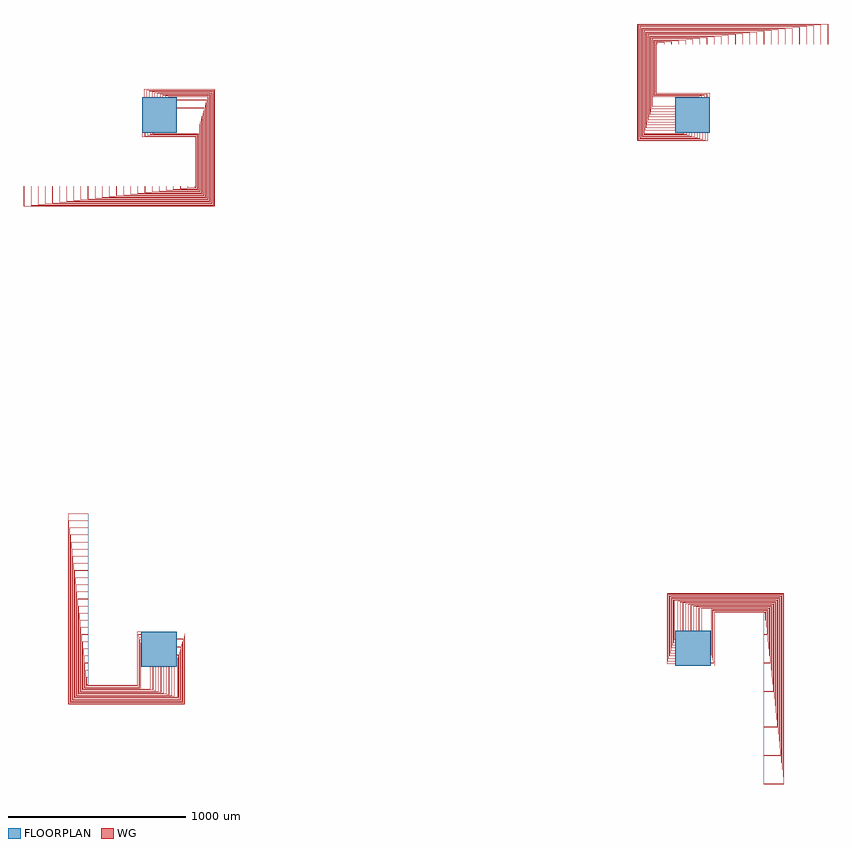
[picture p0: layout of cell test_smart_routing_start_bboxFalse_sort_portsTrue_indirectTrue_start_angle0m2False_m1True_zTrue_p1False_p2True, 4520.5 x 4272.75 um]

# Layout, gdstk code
import gdstk
lib = gdstk.Library(unit=1e-6, precision=1e-09)
def R(c, l, rs):  # rectangles x0, y0, x1, y1
    for r in rs: c.add(gdstk.rectangle(r[:2], r[2:], *l))
def P(c, l, *ps):  # polygons
    for p in ps: c.add(gdstk.Polygon(p, *l))
WG = (1, 0)
FLOORPLAN = (10, 0)

test_smart_routing_start = lib.new_cell('test_smart_routing_start_bboxFalse_sort_portsTrue_indirectTrue_start_angle0m2False_m1True_zTrue_p1False_p2True')
P(test_smart_routing_start, WG, [(-404.5,-204.75),(-404.5,-199.75),(-400,-199.75),(-400,-200.25),(-404,-200.25),(-404,-204.25),(-122.5,-204.25),(-122.5,95.25),(-100,95.25),(-100,94.75),(-122,94.75),(-122,-204.75)],
  [(-409,-209.25),(-409,-159.75),(-400,-159.75),(-400,-160.25),(-408.5,-160.25),(-408.5,-208.75),(-118,-208.75),(-118,80.25),(-100,80.25),(-100,79.75),(-117.5,79.75),(-117.5,-209.25)],
  [(-413.5,-213.75),(-413.5,-119.75),(-400,-119.75),(-400,-120.25),(-413,-120.25),(-413,-213.25),(-113.5,-213.25),(-113.5,65.25),(-100,65.25),(-100,64.75),(-113,64.75),(-113,-213.75)],
  [(-418,-218.25),(-418,-79.75),(-400,-79.75),(-400,-80.25),(-417.5,-80.25),(-417.5,-217.75),(-109,-217.75),(-109,50.25),(-100,50.25),(-100,49.75),(-108.5,49.75),(-108.5,-218.25)],
  [(-422.5,-222.75),(-422.5,-39.75),(-400,-39.75),(-400,-40.25),(-422,-40.25),(-422,-222.25),(-104.5,-222.25),(-104.5,35.25),(-100,35.25),(-100,34.75),(-104,34.75),(-104,-222.75)],
  [(-427,-227.25),(-427,0.25),(-400,0.25),(-400,-0.25),(-426.5,-0.25),(-426.5,-226.75),(-50.25,-226.75),(-50.25,-100),(-49.75,-100),(-49.75,-227.25)],
  [(-431.5,-231.75),(-431.5,40.25),(-400,40.25),(-400,39.75),(-431,39.75),(-431,-231.25),(-35.25,-231.25),(-35.25,-100),(-34.75,-100),(-34.75,-231.75)],
  [(-436,-236.25),(-436,80.25),(-400,80.25),(-400,79.75),(-435.5,79.75),(-435.5,-235.75),(-20.25,-235.75),(-20.25,-100),(-19.75,-100),(-19.75,-236.25)],
  [(-440.5,-240.75),(-440.5,120.25),(-400,120.25),(-400,119.75),(-440,119.75),(-440,-240.25),(-5.25,-240.25),(-5.25,-100),(-4.75,-100),(-4.75,-240.75)],
  [(-445,-245.25),(-445,160.25),(-400,160.25),(-400,159.75),(-444.5,159.75),(-444.5,-244.75),(9.75,-244.75),(9.75,-100),(10.25,-100),(10.25,-245.25)],
  [(-449.5,-249.75),(-449.5,200.25),(-400,200.25),(-400,199.75),(-449,199.75),(-449,-249.25),(24.75,-249.25),(24.75,-100),(25.25,-100),(25.25,-249.75)],
  [(-454,-254.25),(-454,240.25),(-400,240.25),(-400,239.75),(-453.5,239.75),(-453.5,-253.75),(39.75,-253.75),(39.75,-100),(40.25,-100),(40.25,-254.25)],
  [(-458.5,-258.75),(-458.5,280.25),(-400,280.25),(-400,279.75),(-458,279.75),(-458,-258.25),(54.75,-258.25),(54.75,-100),(55.25,-100),(55.25,-258.75)],
  [(-463,-263.25),(-463,320.25),(-400,320.25),(-400,319.75),(-462.5,319.75),(-462.5,-262.75),(69.75,-262.75),(69.75,-100),(70.25,-100),(70.25,-263.25)],
  [(-467.5,-267.75),(-467.5,360.25),(-400,360.25),(-400,359.75),(-467,359.75),(-467,-267.25),(84.75,-267.25),(84.75,-100),(85.25,-100),(85.25,-267.75)],
  [(-472,-272.25),(-472,400.25),(-400,400.25),(-400,399.75),(-471.5,399.75),(-471.5,-271.75),(104,-271.75),(104,-50.25),(100,-50.25),(100,-49.75),(104.5,-49.75),(104.5,-272.25)],
  [(-476.5,-276.75),(-476.5,440.25),(-400,440.25),(-400,439.75),(-476,439.75),(-476,-276.25),(108.5,-276.25),(108.5,-35.25),(100,-35.25),(100,-34.75),(109,-34.75),(109,-276.75)],
  [(-481,-281.25),(-481,480.25),(-400,480.25),(-400,479.75),(-480.5,479.75),(-480.5,-280.75),(113,-280.75),(113,-20.25),(100,-20.25),(100,-19.75),(113.5,-19.75),(113.5,-281.25)],
  [(-485.5,-285.75),(-485.5,520.25),(-400,520.25),(-400,519.75),(-485,519.75),(-485,-285.25),(117.5,-285.25),(117.5,-5.25),(100,-5.25),(100,-4.75),(118,-4.75),(118,-285.75)],
  [(-490,-290.25),(-490,560.25),(-400,560.25),(-400,559.75),(-489.5,559.75),(-489.5,-289.75),(122,-289.75),(122,9.75),(100,9.75),(100,10.25),(122.5,10.25),(122.5,-290.25)],
  [(-494.5,-294.75),(-494.5,600.25),(-400,600.25),(-400,599.75),(-494,599.75),(-494,-294.25),(126.5,-294.25),(126.5,24.75),(100,24.75),(100,25.25),(127,25.25),(127,-294.75)],
  [(-499,-299.25),(-499,640.25),(-400,640.25),(-400,639.75),(-498.5,639.75),(-498.5,-298.75),(131,-298.75),(131,39.75),(100,39.75),(100,40.25),(131.5,40.25),(131.5,-299.25)],
  [(-503.5,-303.75),(-503.5,680.25),(-400,680.25),(-400,679.75),(-503,679.75),(-503,-303.25),(135.5,-303.25),(135.5,54.75),(100,54.75),(100,55.25),(136,55.25),(136,-303.75)],
  [(-508,-308.25),(-508,720.25),(-400,720.25),(-400,719.75),(-507.5,719.75),(-507.5,-307.75),(140,-307.75),(140,69.75),(100,69.75),(100,70.25),(140.5,70.25),(140.5,-308.25)],
  [(-512.5,-312.75),(-512.5,760.25),(-400,760.25),(-400,759.75),(-512,759.75),(-512,-312.25),(144.5,-312.25),(144.5,84.75),(100,84.75),(100,85.25),(145,85.25),(145,-312.75)],
  [(199.75,2595.5),(199.75,2600),(200.25,2600),(200.25,2596),(204.25,2596),(204.25,2877.5),(-95.25,2877.5),(-95.25,2900),(-94.75,2900),(-94.75,2878),(204.75,2878),(204.75,2595.5)],
  [(159.75,2591),(159.75,2600),(160.25,2600),(160.25,2591.5),(208.75,2591.5),(208.75,2882),(-80.25,2882),(-80.25,2900),(-79.75,2900),(-79.75,2882.5),(209.25,2882.5),(209.25,2591)],
  [(119.75,2586.5),(119.75,2600),(120.25,2600),(120.25,2587),(213.25,2587),(213.25,2886.5),(-65.25,2886.5),(-65.25,2900),(-64.75,2900),(-64.75,2887),(213.75,2887),(213.75,2586.5)],
  [(79.75,2582),(79.75,2600),(80.25,2600),(80.25,2582.5),(217.75,2582.5),(217.75,2891),(-50.25,2891),(-50.25,2900),(-49.75,2900),(-49.75,2891.5),(218.25,2891.5),(218.25,2582)],
  [(39.75,2577.5),(39.75,2600),(40.25,2600),(40.25,2578),(222.25,2578),(222.25,2895.5),(-35.25,2895.5),(-35.25,2900),(-34.75,2900),(-34.75,2896),(222.75,2896),(222.75,2577.5)],
  [(-0.25,2573),(-0.25,2600),(0.25,2600),(0.25,2573.5),(226.75,2573.5),(226.75,2949.75),(100,2949.75),(100,2950.25),(227.25,2950.25),(227.25,2573)],
  [(-40.25,2568.5),(-40.25,2600),(-39.75,2600),(-39.75,2569),(231.25,2569),(231.25,2964.75),(100,2964.75),(100,2965.25),(231.75,2965.25),(231.75,2568.5)],
  [(-80.25,2564),(-80.25,2600),(-79.75,2600),(-79.75,2564.5),(235.75,2564.5),(235.75,2979.75),(100,2979.75),(100,2980.25),(236.25,2980.25),(236.25,2564)],
  [(-120.25,2559.5),(-120.25,2600),(-119.75,2600),(-119.75,2560),(240.25,2560),(240.25,2994.75),(100,2994.75),(100,2995.25),(240.75,2995.25),(240.75,2559.5)],
  [(-160.25,2555),(-160.25,2600),(-159.75,2600),(-159.75,2555.5),(244.75,2555.5),(244.75,3009.75),(100,3009.75),(100,3010.25),(245.25,3010.25),(245.25,2555)],
  [(-200.25,2550.5),(-200.25,2600),(-199.75,2600),(-199.75,2551),(249.25,2551),(249.25,3024.75),(100,3024.75),(100,3025.25),(249.75,3025.25),(249.75,2550.5)],
  [(-240.25,2546),(-240.25,2600),(-239.75,2600),(-239.75,2546.5),(253.75,2546.5),(253.75,3039.75),(100,3039.75),(100,3040.25),(254.25,3040.25),(254.25,2546)],
  [(-280.25,2541.5),(-280.25,2600),(-279.75,2600),(-279.75,2542),(258.25,2542),(258.25,3054.75),(100,3054.75),(100,3055.25),(258.75,3055.25),(258.75,2541.5)],
  [(-320.25,2537),(-320.25,2600),(-319.75,2600),(-319.75,2537.5),(262.75,2537.5),(262.75,3069.75),(100,3069.75),(100,3070.25),(263.25,3070.25),(263.25,2537)],
  [(-360.25,2532.5),(-360.25,2600),(-359.75,2600),(-359.75,2533),(267.25,2533),(267.25,3084.75),(100,3084.75),(100,3085.25),(267.75,3085.25),(267.75,2532.5)],
  [(-400.25,2528),(-400.25,2600),(-399.75,2600),(-399.75,2528.5),(271.75,2528.5),(271.75,3104),(50.25,3104),(50.25,3100),(49.75,3100),(49.75,3104.5),(272.25,3104.5),(272.25,2528)],
  [(-440.25,2523.5),(-440.25,2600),(-439.75,2600),(-439.75,2524),(276.25,2524),(276.25,3108.5),(35.25,3108.5),(35.25,3100),(34.75,3100),(34.75,3109),(276.75,3109),(276.75,2523.5)],
  [(-480.25,2519),(-480.25,2600),(-479.75,2600),(-479.75,2519.5),(280.75,2519.5),(280.75,3113),(20.25,3113),(20.25,3100),(19.75,3100),(19.75,3113.5),(281.25,3113.5),(281.25,2519)],
  [(-520.25,2514.5),(-520.25,2600),(-519.75,2600),(-519.75,2515),(285.25,2515),(285.25,3117.5),(5.25,3117.5),(5.25,3100),(4.75,3100),(4.75,3118),(285.75,3118),(285.75,2514.5)],
  [(-560.25,2510),(-560.25,2600),(-559.75,2600),(-559.75,2510.5),(289.75,2510.5),(289.75,3122),(-9.75,3122),(-9.75,3100),(-10.25,3100),(-10.25,3122.5),(290.25,3122.5),(290.25,2510)],
  [(-600.25,2505.5),(-600.25,2600),(-599.75,2600),(-599.75,2506),(294.25,2506),(294.25,3126.5),(-24.75,3126.5),(-24.75,3100),(-25.25,3100),(-25.25,3127),(294.75,3127),(294.75,2505.5)],
  [(-640.25,2501),(-640.25,2600),(-639.75,2600),(-639.75,2501.5),(298.75,2501.5),(298.75,3131),(-39.75,3131),(-39.75,3100),(-40.25,3100),(-40.25,3131.5),(299.25,3131.5),(299.25,2501)],
  [(-680.25,2496.5),(-680.25,2600),(-679.75,2600),(-679.75,2497),(303.25,2497),(303.25,3135.5),(-54.75,3135.5),(-54.75,3100),(-55.25,3100),(-55.25,3136),(303.75,3136),(303.75,2496.5)],
  [(-720.25,2492),(-720.25,2600),(-719.75,2600),(-719.75,2492.5),(307.75,2492.5),(307.75,3140),(-69.75,3140),(-69.75,3100),(-70.25,3100),(-70.25,3140.5),(308.25,3140.5),(308.25,2492)],
  [(-760.25,2487.5),(-760.25,2600),(-759.75,2600),(-759.75,2488),(312.25,2488),(312.25,3144.5),(-84.75,3144.5),(-84.75,3100),(-85.25,3100),(-85.25,3145),(312.75,3145),(312.75,2487.5)],
  [(3100,-95.25),(3100,-94.75),(3122,-94.75),(3122,204.75),(3404.5,204.75),(3404.5,199.75),(3400,199.75),(3400,200.25),(3404,200.25),(3404,204.25),(3122.5,204.25),(3122.5,-95.25)],
  [(3100,-80.25),(3100,-79.75),(3117.5,-79.75),(3117.5,209.25),(3409,209.25),(3409,159.75),(3400,159.75),(3400,160.25),(3408.5,160.25),(3408.5,208.75),(3118,208.75),(3118,-80.25)],
  [(3100,-65.25),(3100,-64.75),(3113,-64.75),(3113,213.75),(3413.5,213.75),(3413.5,119.75),(3400,119.75),(3400,120.25),(3413,120.25),(3413,213.25),(3113.5,213.25),(3113.5,-65.25)],
  [(3100,-50.25),(3100,-49.75),(3108.5,-49.75),(3108.5,218.25),(3418,218.25),(3418,79.75),(3400,79.75),(3400,80.25),(3417.5,80.25),(3417.5,217.75),(3109,217.75),(3109,-50.25)],
  [(3100,-35.25),(3100,-34.75),(3104,-34.75),(3104,222.75),(3422.5,222.75),(3422.5,39.75),(3400,39.75),(3400,40.25),(3422,40.25),(3422,222.25),(3104.5,222.25),(3104.5,-35.25)],
  [(3400,-0.25),(3400,0.25),(3426.5,0.25),(3426.5,226.75),(3050.25,226.75),(3050.25,100),(3049.75,100),(3049.75,227.25),(3427,227.25),(3427,-0.25)],
  [(3400,-40.25),(3400,-39.75),(3431,-39.75),(3431,231.25),(3035.25,231.25),(3035.25,100),(3034.75,100),(3034.75,231.75),(3431.5,231.75),(3431.5,-40.25)],
  [(3400,-80.25),(3400,-79.75),(3435.5,-79.75),(3435.5,235.75),(3020.25,235.75),(3020.25,100),(3019.75,100),(3019.75,236.25),(3436,236.25),(3436,-80.25)],
  [(3400,-120.25),(3400,-119.75),(3440,-119.75),(3440,240.25),(3005.25,240.25),(3005.25,100),(3004.75,100),(3004.75,240.75),(3440.5,240.75),(3440.5,-120.25)],
  [(3400,-160.25),(3400,-159.75),(3444.5,-159.75),(3444.5,244.75),(2990.25,244.75),(2990.25,100),(2989.75,100),(2989.75,245.25),(3445,245.25),(3445,-160.25)],
  [(3400,-200.25),(3400,-199.75),(3449,-199.75),(3449,249.25),(2975.25,249.25),(2975.25,100),(2974.75,100),(2974.75,249.75),(3449.5,249.75),(3449.5,-200.25)],
  [(3400,-240.25),(3400,-239.75),(3453.5,-239.75),(3453.5,253.75),(2960.25,253.75),(2960.25,100),(2959.75,100),(2959.75,254.25),(3454,254.25),(3454,-240.25)],
  [(3400,-280.25),(3400,-279.75),(3458,-279.75),(3458,258.25),(2945.25,258.25),(2945.25,100),(2944.75,100),(2944.75,258.75),(3458.5,258.75),(3458.5,-280.25)],
  [(3400,-320.25),(3400,-319.75),(3462.5,-319.75),(3462.5,262.75),(2930.25,262.75),(2930.25,100),(2929.75,100),(2929.75,263.25),(3463,263.25),(3463,-320.25)],
  [(3400,-360.25),(3400,-359.75),(3467,-359.75),(3467,267.25),(2915.25,267.25),(2915.25,100),(2914.75,100),(2914.75,267.75),(3467.5,267.75),(3467.5,-360.25)],
  [(3400,-400.25),(3400,-399.75),(3471.5,-399.75),(3471.5,271.75),(2896,271.75),(2896,50.25),(2900,50.25),(2900,49.75),(2895.5,49.75),(2895.5,272.25),(3472,272.25),(3472,-400.25)],
  [(3400,-440.25),(3400,-439.75),(3476,-439.75),(3476,276.25),(2891.5,276.25),(2891.5,35.25),(2900,35.25),(2900,34.75),(2891,34.75),(2891,276.75),(3476.5,276.75),(3476.5,-440.25)],
  [(3400,-480.25),(3400,-479.75),(3480.5,-479.75),(3480.5,280.75),(2887,280.75),(2887,20.25),(2900,20.25),(2900,19.75),(2886.5,19.75),(2886.5,281.25),(3481,281.25),(3481,-480.25)],
  [(3400,-520.25),(3400,-519.75),(3485,-519.75),(3485,285.25),(2882.5,285.25),(2882.5,5.25),(2900,5.25),(2900,4.75),(2882,4.75),(2882,285.75),(3485.5,285.75),(3485.5,-520.25)],
  [(3400,-560.25),(3400,-559.75),(3489.5,-559.75),(3489.5,289.75),(2878,289.75),(2878,-9.75),(2900,-9.75),(2900,-10.25),(2877.5,-10.25),(2877.5,290.25),(3490,290.25),(3490,-560.25)],
  [(3400,-600.25),(3400,-599.75),(3494,-599.75),(3494,294.25),(2873.5,294.25),(2873.5,-24.75),(2900,-24.75),(2900,-25.25),(2873,-25.25),(2873,294.75),(3494.5,294.75),(3494.5,-600.25)],
  [(3400,-640.25),(3400,-639.75),(3498.5,-639.75),(3498.5,298.75),(2869,298.75),(2869,-39.75),(2900,-39.75),(2900,-40.25),(2868.5,-40.25),(2868.5,299.25),(3499,299.25),(3499,-640.25)],
  [(3400,-680.25),(3400,-679.75),(3503,-679.75),(3503,303.25),(2864.5,303.25),(2864.5,-54.75),(2900,-54.75),(2900,-55.25),(2864,-55.25),(2864,303.75),(3503.5,303.75),(3503.5,-680.25)],
  [(3400,-720.25),(3400,-719.75),(3507.5,-719.75),(3507.5,307.75),(2860,307.75),(2860,-69.75),(2900,-69.75),(2900,-70.25),(2859.5,-70.25),(2859.5,308.25),(3508,308.25),(3508,-720.25)],
  [(3400,-760.25),(3400,-759.75),(3512,-759.75),(3512,312.25),(2855.5,312.25),(2855.5,-84.75),(2900,-84.75),(2900,-85.25),(2855,-85.25),(2855,312.75),(3512.5,312.75),(3512.5,-760.25)],
  [(3094.75,3100),(3094.75,3122),(2795.25,3122),(2795.25,3404.5),(2800.25,3404.5),(2800.25,3400),(2799.75,3400),(2799.75,3404),(2795.75,3404),(2795.75,3122.5),(3095.25,3122.5),(3095.25,3100)],
  [(3079.75,3100),(3079.75,3117.5),(2790.75,3117.5),(2790.75,3409),(2840.25,3409),(2840.25,3400),(2839.75,3400),(2839.75,3408.5),(2791.25,3408.5),(2791.25,3118),(3080.25,3118),(3080.25,3100)],
  [(3064.75,3100),(3064.75,3113),(2786.25,3113),(2786.25,3413.5),(2880.25,3413.5),(2880.25,3400),(2879.75,3400),(2879.75,3413),(2786.75,3413),(2786.75,3113.5),(3065.25,3113.5),(3065.25,3100)],
  [(3049.75,3100),(3049.75,3108.5),(2781.75,3108.5),(2781.75,3418),(2920.25,3418),(2920.25,3400),(2919.75,3400),(2919.75,3417.5),(2782.25,3417.5),(2782.25,3109),(3050.25,3109),(3050.25,3100)],
  [(3034.75,3100),(3034.75,3104),(2777.25,3104),(2777.25,3422.5),(2960.25,3422.5),(2960.25,3400),(2959.75,3400),(2959.75,3422),(2777.75,3422),(2777.75,3104.5),(3035.25,3104.5),(3035.25,3100)],
  [(2772.75,3049.75),(2772.75,3427),(3000.25,3427),(3000.25,3400),(2999.75,3400),(2999.75,3426.5),(2773.25,3426.5),(2773.25,3050.25),(2900,3050.25),(2900,3049.75)],
  [(2768.25,3034.75),(2768.25,3431.5),(3040.25,3431.5),(3040.25,3400),(3039.75,3400),(3039.75,3431),(2768.75,3431),(2768.75,3035.25),(2900,3035.25),(2900,3034.75)],
  [(2763.75,3019.75),(2763.75,3436),(3080.25,3436),(3080.25,3400),(3079.75,3400),(3079.75,3435.5),(2764.25,3435.5),(2764.25,3020.25),(2900,3020.25),(2900,3019.75)],
  [(2759.25,3004.75),(2759.25,3440.5),(3120.25,3440.5),(3120.25,3400),(3119.75,3400),(3119.75,3440),(2759.75,3440),(2759.75,3005.25),(2900,3005.25),(2900,3004.75)],
  [(2754.75,2989.75),(2754.75,3445),(3160.25,3445),(3160.25,3400),(3159.75,3400),(3159.75,3444.5),(2755.25,3444.5),(2755.25,2990.25),(2900,2990.25),(2900,2989.75)],
  [(2750.25,2974.75),(2750.25,3449.5),(3200.25,3449.5),(3200.25,3400),(3199.75,3400),(3199.75,3449),(2750.75,3449),(2750.75,2975.25),(2900,2975.25),(2900,2974.75)],
  [(2745.75,2959.75),(2745.75,3454),(3240.25,3454),(3240.25,3400),(3239.75,3400),(3239.75,3453.5),(2746.25,3453.5),(2746.25,2960.25),(2900,2960.25),(2900,2959.75)],
  [(2741.25,2944.75),(2741.25,3458.5),(3280.25,3458.5),(3280.25,3400),(3279.75,3400),(3279.75,3458),(2741.75,3458),(2741.75,2945.25),(2900,2945.25),(2900,2944.75)],
  [(2736.75,2929.75),(2736.75,3463),(3320.25,3463),(3320.25,3400),(3319.75,3400),(3319.75,3462.5),(2737.25,3462.5),(2737.25,2930.25),(2900,2930.25),(2900,2929.75)],
  [(2732.25,2914.75),(2732.25,3467.5),(3360.25,3467.5),(3360.25,3400),(3359.75,3400),(3359.75,3467),(2732.75,3467),(2732.75,2915.25),(2900,2915.25),(2900,2914.75)],
  [(2727.75,2895.5),(2727.75,3472),(3400.25,3472),(3400.25,3400),(3399.75,3400),(3399.75,3471.5),(2728.25,3471.5),(2728.25,2896),(2949.75,2896),(2949.75,2900),(2950.25,2900),(2950.25,2895.5)],
  [(2723.25,2891),(2723.25,3476.5),(3440.25,3476.5),(3440.25,3400),(3439.75,3400),(3439.75,3476),(2723.75,3476),(2723.75,2891.5),(2964.75,2891.5),(2964.75,2900),(2965.25,2900),(2965.25,2891)],
  [(2718.75,2886.5),(2718.75,3481),(3480.25,3481),(3480.25,3400),(3479.75,3400),(3479.75,3480.5),(2719.25,3480.5),(2719.25,2887),(2979.75,2887),(2979.75,2900),(2980.25,2900),(2980.25,2886.5)],
  [(2714.25,2882),(2714.25,3485.5),(3520.25,3485.5),(3520.25,3400),(3519.75,3400),(3519.75,3485),(2714.75,3485),(2714.75,2882.5),(2994.75,2882.5),(2994.75,2900),(2995.25,2900),(2995.25,2882)],
  [(2709.75,2877.5),(2709.75,3490),(3560.25,3490),(3560.25,3400),(3559.75,3400),(3559.75,3489.5),(2710.25,3489.5),(2710.25,2878),(3009.75,2878),(3009.75,2900),(3010.25,2900),(3010.25,2877.5)],
  [(2705.25,2873),(2705.25,3494.5),(3600.25,3494.5),(3600.25,3400),(3599.75,3400),(3599.75,3494),(2705.75,3494),(2705.75,2873.5),(3024.75,2873.5),(3024.75,2900),(3025.25,2900),(3025.25,2873)],
  [(2700.75,2868.5),(2700.75,3499),(3640.25,3499),(3640.25,3400),(3639.75,3400),(3639.75,3498.5),(2701.25,3498.5),(2701.25,2869),(3039.75,2869),(3039.75,2900),(3040.25,2900),(3040.25,2868.5)],
  [(2696.25,2864),(2696.25,3503.5),(3680.25,3503.5),(3680.25,3400),(3679.75,3400),(3679.75,3503),(2696.75,3503),(2696.75,2864.5),(3054.75,2864.5),(3054.75,2900),(3055.25,2900),(3055.25,2864)],
  [(2691.75,2859.5),(2691.75,3508),(3720.25,3508),(3720.25,3400),(3719.75,3400),(3719.75,3507.5),(2692.25,3507.5),(2692.25,2860),(3069.75,2860),(3069.75,2900),(3070.25,2900),(3070.25,2859.5)],
  [(2687.25,2855),(2687.25,3512.5),(3760.25,3512.5),(3760.25,3400),(3759.75,3400),(3759.75,3512),(2687.75,3512),(2687.75,2855.5),(3084.75,2855.5),(3084.75,2900),(3085.25,2900),(3085.25,2855)])
R(test_smart_routing_start, FLOORPLAN, [(-100,-100,100,95), (2900,-95,3100,100), (-95,2900,100,3100), (2900,2900,3095,3100)])
P(test_smart_routing_start, FLOORPLAN, [(-400,-200),(-400,760),(-400,760),(-400,-200)],
  [(-760,2600),(-760,2600),(200,2600),(200,2600)],
  [(3400,-760),(3400,200),(3400,200),(3400,-760)],
  [(2800,3400),(2800,3400),(3760,3400),(3760,3400)])

lib.write_gds('test_smart_routing_start_bboxFalse_sort_portsTrue_indirectTrue_start_angle0m2False_m1True_zTrue_p1False_p2True.gds')
